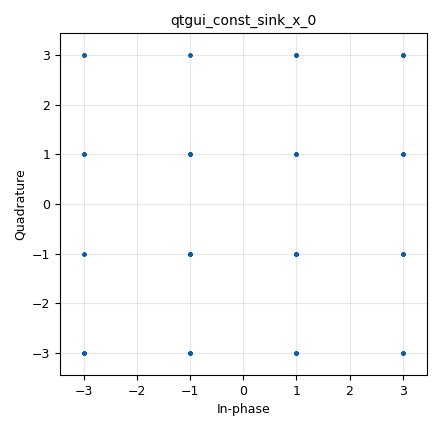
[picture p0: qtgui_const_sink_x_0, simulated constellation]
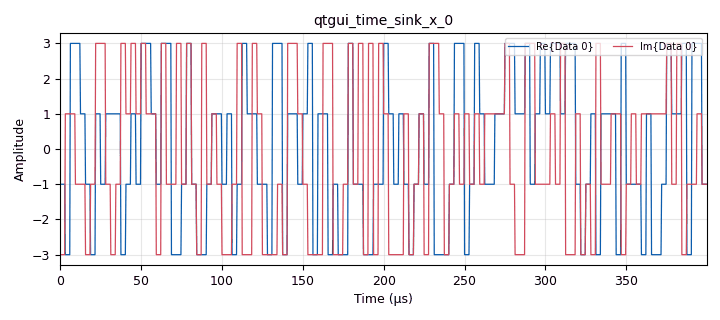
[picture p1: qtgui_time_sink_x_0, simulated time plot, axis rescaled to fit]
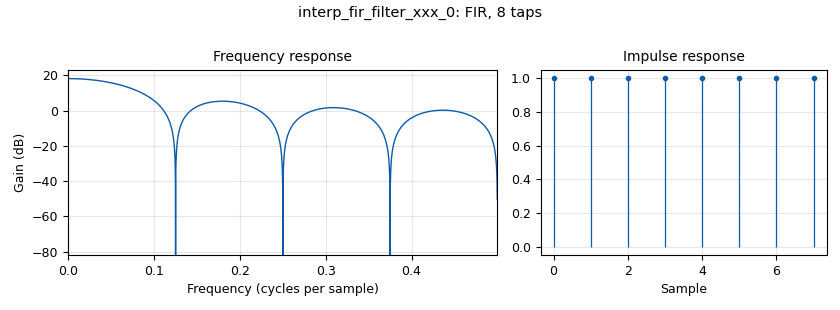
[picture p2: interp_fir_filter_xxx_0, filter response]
options:
  parameters:
    author: radiogis_director
    generate_options: qt_gui
    id: top_block
    output_language: python
    title: top_block
  states: {}

blocks:
- name: M
  id: variable
  parameters:
    value: len(TablaVerdadConstelacion )
  states: {}
- name: Rb
  id: variable
  parameters:
    value: Rs*bps
  states: {}
- name: Rs
  id: variable
  parameters:
    value: '32000'
  states: {}
- name: Sps
  id: variable
  parameters:
    value: '8'
  states: {}
- name: TablaVerdadConstelacion
  id: variable
  parameters:
    value: (-3-3j, -1-3j, 1-3j, 3-3j, 3-1j, 1-1j, -1-1j, -3-1j, -3+1j, -1+1j, 1+1j, 3+1j, 3+3j, 1+3j, -1+3j, -3+3j)
  states: {}
- name: bps
  id: variable
  parameters:
    value: int(math.log(M,2))
  states: {}
- name: h
  id: variable
  parameters:
    value: '[1]*Sps'
  states: {}
- name: samp_rate
  id: variable
  parameters:
    value: Rs*Sps*10
  states: {}
- name: analog_const_source_x_0
  id: analog_const_source_x
  parameters:
    const: '-1'
    type: float
  states: {state: disabled}
- name: analog_noise_source_x_0
  id: analog_noise_source_x
  parameters:
    amp: '0.2'
    noise_type: analog.GR_GAUSSIAN
    seed: '0'
    type: complex
  states: {state: disabled}
- name: analog_random_source_x_0
  id: analog_random_source_x
  parameters:
    max: '256'
    min: '0'
    num_samps: '1000'
    repeat: 'True'
    type: byte
  states: {}
- name: analog_sig_source_x_0
  id: analog_sig_source_x
  parameters:
    amp: '1'
    freq: 10*Rb
    offset: '0'
    phase: '0'
    samp_rate: samp_rate
    type: float
    waveform: analog.GR_COS_WAVE
  states: {state: disabled}
- name: analog_sig_source_x_0_0
  id: analog_sig_source_x
  parameters:
    amp: '1'
    freq: 10*Rb
    offset: '0'
    phase: '0'
    samp_rate: samp_rate
    type: float
    waveform: analog.GR_SIN_WAVE
  states: {state: disabled}
- name: blocks_add_xx_0
  id: blocks_add_xx
  parameters:
    type: complex
  states: {state: disabled}
- name: blocks_add_xx_1
  id: blocks_add_xx
  parameters:
    type: float
  states: {state: disabled}
- name: blocks_complex_to_imag_0
  id: blocks_complex_to_imag
  parameters: {}
  states: {state: disabled}
- name: blocks_complex_to_real_0
  id: blocks_complex_to_real
  parameters: {}
  states: {state: disabled}
- name: blocks_multiply_xx_0
  id: blocks_multiply_xx
  parameters:
    type: float
  states: {state: disabled}
- name: blocks_multiply_xx_1
  id: blocks_multiply_xx
  parameters:
    type: float
  states: {state: disabled}
- name: blocks_multiply_xx_2
  id: blocks_multiply_xx
  parameters:
    type: float
  states: {state: disabled}
- name: blocks_pack_k_bits_bb_0
  id: blocks_pack_k_bits_bb
  parameters:
    k: '8'
  states: {}
- name: blocks_packed_to_unpacked_xx_0
  id: blocks_packed_to_unpacked_xx
  parameters:
    bits_per_chunk: bps
    endianness: gr.GR_MSB_FIRST
    type: byte
  states: {}
- name: digital_chunks_to_symbols_xx_0
  id: digital_chunks_to_symbols_xx
  parameters:
    dimension: '1'
    in_type: byte
    out_type: complex
    symbol_table: TablaVerdadConstelacion
  states: {}
- name: import_0
  id: import
  parameters:
    imports: import math
  states: {}
- name: interp_fir_filter_xxx_0
  id: interp_fir_filter_xxx
  parameters:
    interp: Sps
    taps: h
    type: ccf
  states: {}
- name: qtgui_const_sink_x_0
  id: qtgui_const_sink_x
  parameters:
    autoscale: 'True'
    size: '1024'
    type: complex
  states: {}
- name: qtgui_freq_sink_x_0
  id: qtgui_freq_sink_x
  parameters:
    autoscale: 'True'
    average: '0.05'
    bw: samp_rate
    fc: '0'
    fftsize: '4096'
    type: complex
  states: {state: disabled}
- name: qtgui_freq_sink_x_1
  id: qtgui_freq_sink_x
  parameters:
    bw: samp_rate
    color1: '"magenta"'
    fc: '0'
    fftsize: '1024'
    type: float
  states: {state: disabled}
- name: qtgui_time_sink_x_0
  id: qtgui_time_sink_x
  parameters:
    size: '1024'
    srate: samp_rate
    type: complex
  states: {}
- name: qtgui_time_sink_x_1
  id: qtgui_time_sink_x
  parameters:
    color1: black
    label1: s(t)
    size: '1024'
    srate: samp_rate
    type: float
  states: {state: disabled}
- name: qtgui_time_sink_x_1_0
  id: qtgui_time_sink_x
  parameters:
    color1: dark red
    label1: PARTE REAL
    size: '1024'
    srate: samp_rate
    type: float
  states: {state: disabled}
- name: qtgui_time_sink_x_1_0_0
  id: qtgui_time_sink_x
  parameters:
    color1: dark green
    label1: PARTE IMAGINARIO
    size: '1024'
    srate: samp_rate
    type: float
  states: {state: disabled}
- name: virtual_sink_0
  id: virtual_sink
  parameters:
    stream_id: p1
  states: {state: disabled}
- name: virtual_sink_0_0
  id: virtual_sink
  parameters:
    stream_id: p0
  states: {}
- name: virtual_source_0
  id: virtual_source
  parameters:
    stream_id: p0
  states: {}
- name: virtual_source_0_0
  id: virtual_source
  parameters:
    stream_id: p0
  states: {state: disabled}

connections:
- [analog_const_source_x_0, '0', blocks_multiply_xx_2, '1']
- [analog_noise_source_x_0, '0', blocks_add_xx_0, '0']
- [analog_random_source_x_0, '0', blocks_pack_k_bits_bb_0, '0']
- [analog_sig_source_x_0, '0', blocks_multiply_xx_0, '1']
- [analog_sig_source_x_0_0, '0', blocks_multiply_xx_1, '0']
- [blocks_add_xx_0, '0', virtual_sink_0, '0']
- [blocks_add_xx_1, '0', qtgui_freq_sink_x_1, '0']
- [blocks_add_xx_1, '0', qtgui_time_sink_x_1, '0']
- [blocks_complex_to_imag_0, '0', blocks_multiply_xx_1, '1']
- [blocks_complex_to_imag_0, '0', qtgui_time_sink_x_1_0_0, '0']
- [blocks_complex_to_real_0, '0', blocks_multiply_xx_0, '0']
- [blocks_complex_to_real_0, '0', qtgui_time_sink_x_1_0, '0']
- [blocks_multiply_xx_0, '0', blocks_add_xx_1, '0']
- [blocks_multiply_xx_1, '0', blocks_multiply_xx_2, '0']
- [blocks_multiply_xx_2, '0', blocks_add_xx_1, '1']
- [blocks_pack_k_bits_bb_0, '0', blocks_packed_to_unpacked_xx_0, '0']
- [blocks_packed_to_unpacked_xx_0, '0', digital_chunks_to_symbols_xx_0, '0']
- [digital_chunks_to_symbols_xx_0, '0', blocks_add_xx_0, '1']
- [digital_chunks_to_symbols_xx_0, '0', interp_fir_filter_xxx_0, '0']
- [interp_fir_filter_xxx_0, '0', blocks_complex_to_imag_0, '0']
- [interp_fir_filter_xxx_0, '0', blocks_complex_to_real_0, '0']
- [interp_fir_filter_xxx_0, '0', virtual_sink_0_0, '0']
- [virtual_source_0, '0', qtgui_const_sink_x_0, '0']
- [virtual_source_0, '0', qtgui_time_sink_x_0, '0']
- [virtual_source_0_0, '0', qtgui_freq_sink_x_0, '0']

metadata:
  file_format: 1
  grc_version: 3.10.12.0
